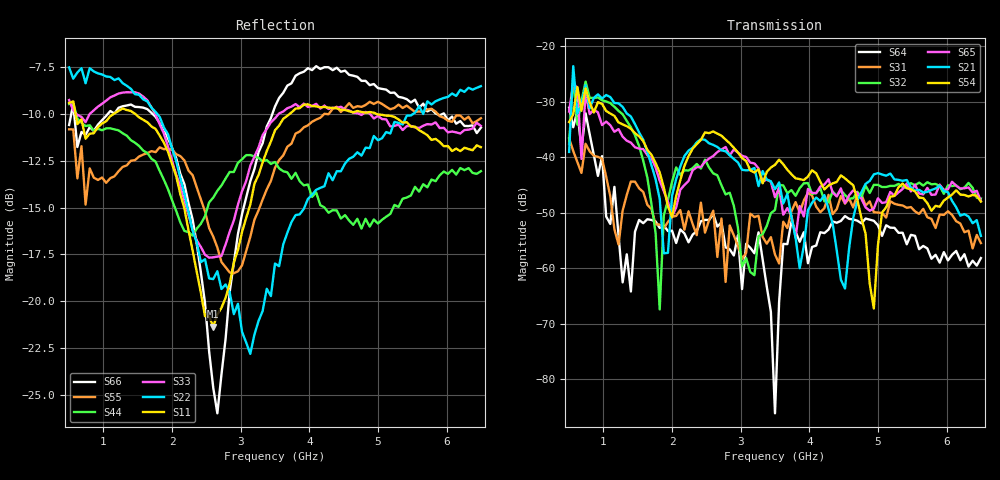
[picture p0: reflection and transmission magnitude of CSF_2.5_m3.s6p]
!Keysight Technologies,M9804A,MY58100912,A.14.10.03
!Date: Thursday, April 27, 2023 10:28:33
!Correction: S11(C  6-Port  )
!S12(C  6-Port  )
!S13(C  6-Port  )
!S14(C  6-Port  )
!S15(C  6-Port  )
!S16(C  6-Port  )
!S21(C  6-Port  )
!S22(C  6-Port  )
!S23(C  6-Port  )
!S24(C  6-Port  )
!S25(C  6-Port  )
!S26(C  6-Port  )
!S31(C  6-Port  )
!S32(C  6-Port  )
!S33(C  6-Port  )
!S34(C  6-Port  )
!S35(C  6-Port  )
!S36(C  6-Port  )
!S41(C  6-Port  )
!S42(C  6-Port  )
!S43(C  6-Port  )
!S44(C  6-Port  )
!S45(C  6-Port  )
!S46(C  6-Port  )
!S51(C  6-Port  )
!S52(C  6-Port  )
!S53(C  6-Port  )
!S54(C  6-Port  )
!S55(C  6-Port  )
!S56(C  6-Port  )
!S61(C  6-Port  )
!S62(C  6-Port  )
!S63(C  6-Port  )
!S64(C  6-Port  )
!S65(C  6-Port  )
!S66(C  6-Port  )
!S6P File: Measurement: :
# Hz S  RI  R 50
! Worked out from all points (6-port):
!   101 points, 500 MHz to 6.5 GHz, reference 50 ohm
!   strongest paths, dB at 500 MHz, 2 GHz, 3.5 GHz, 5 GHz, 6.5 GHz:
!     S54: -33.6, -50.8, -41.4, -55.9, -48.0
!     S21: -39.0, -46.9, -45.8, -42.9, -54.2
!     S65: -31.8, -50.7, -47.2, -47.4, -47.9
!     S32: -37.6, -44.4, -49.5, -45.0, -47.4
!     S31: -36.6, -50.7, -57.5, -50.0, -55.5
!     S64: -31.1, -53.2, -86.2, -52.3, -58.2
!   lowest |S11| = -21.4 dB at 2.6 GHz (marker M1), VSWR 1.19, Z = 42.4 + j2.26 ohm
!   |S11| at or under -10 dB: 593.7 MHz to 1.144 GHz (549.8 MHz wide, 63.3 % of centre); 1.466 GHz to 3.71 GHz (2.244 GHz wide, 86.7 % of centre); 4.988 GHz to end of sweep
